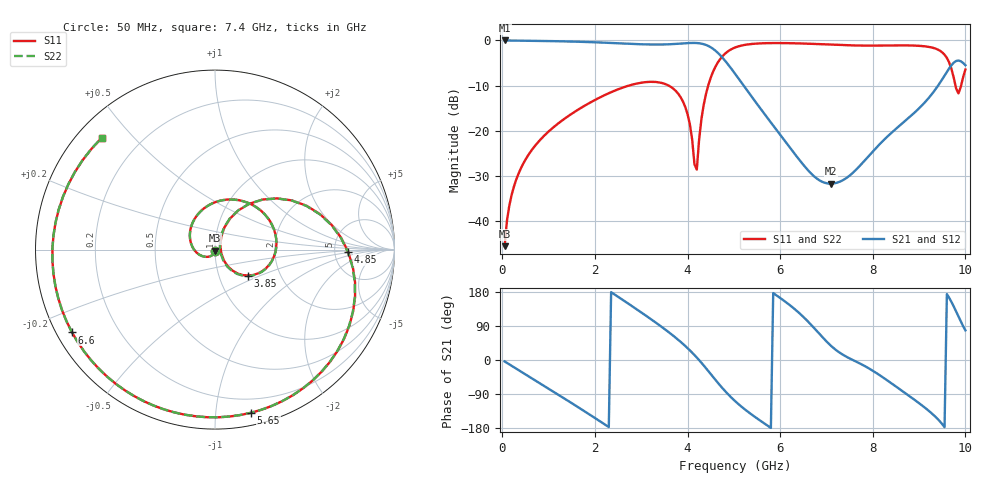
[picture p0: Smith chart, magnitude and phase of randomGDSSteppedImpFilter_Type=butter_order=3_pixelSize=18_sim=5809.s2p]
! freq	dB(S11)	phase(S11)	dB(S12)	phase(S12)
!  dB(S21)	phase(S21)	dB(S22)	phase(S22)
!S-par simulation data
#  GHz  S  DB  R 50
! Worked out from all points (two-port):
!   200 points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, 50 MHz to 10 GHz, reference 50 ohm
!   highest |S21| = -0.01 dB at 50 MHz (marker M1); lowest = -31.8 dB at 7.1 GHz (marker M2)
!   |S21| within 3 dB of the highest: start of sweep to 4.679 GHz
!   lowest |S11| = -45.6 dB at 50 MHz (marker M3), VSWR 1.01, Z = 50 - j0.522 ohm
!   |S11| at or under -10 dB: start of sweep to 2.74 GHz; 3.588 GHz to 4.447 GHz (858.5 MHz wide, 21.4 % of centre); 9.786 GHz to 9.908 GHz (122.2 MHz wide, 1.24 % of centre)
!   |S22| runs from -45.6 to -0.6 dB; largest |S21 - S12| = 0
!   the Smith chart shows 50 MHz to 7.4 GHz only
!   S11 on the Smith chart (normalised r, x): 50 MHz: 1.00, -0.01; 3.85 GHz: 1.38, -0.42; 4.85 GHz: 6.73, -0.37; 5.65 GHz: 0.09, -1.24; 6.6 GHz: 0.04, -0.27; 7.4 GHz: 0.07, +0.41
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0.05  -45.64 -88.7  -0.01 -3.8  -0.01 -3.8  -45.64 -88.7
0.5  -26.45 -127.4  -0.07 -37.7  -0.07 -37.7  -26.45 -127.4
1.15  -18.88 -178.0  -0.17 -86.9  -0.17 -86.9  -18.88 -177.9
1.75  -14.65 135.6  -0.32 -133.3  -0.32 -133.3  -14.65 135.5
2.5  -10.84 76.3  -0.63 166.9  -0.63 166.9  -10.84 76.0
3.4  -9.34 2.0  -0.91 91.1  -0.91 91.1  -9.34 1.4
3.85  -12.58 -38.0  -0.70 48.0  -0.70 48.0  -12.59 -38.9
4.2  -28.65 36.3  -0.58 6.5  -0.58 6.5  -29.26 38.5
4.4  -11.81 59.0  -1.01 -21.8  -1.01 -21.8  -11.83 59.2
4.85  -2.59 -1.0  -5.00 -87.2  -5.00 -87.2  -2.59 -1.2
5.05  -1.48 -24.1  -7.72 -111.0  -7.72 -111.0  -1.48 -24.5
5.65  -0.62 -77.6  -16.16 -166.7  -16.16 -166.7  -0.62 -78.0
6.6  -0.72 -149.9  -28.78 101.7  -28.78 101.7  -0.72 -150.3
6.7  -0.76 -158.2  -29.84 88.8  -29.84 88.8  -0.76 -158.5
7.1  -0.93 165.8  -31.77 37.2  -31.77 37.2  -0.92 165.6
7.4  -1.05 135.4  -30.73 10.7  -30.73 10.7  -1.05 135.4
7.85  -1.15 85.8  -26.35 -17.5  -26.35 -17.5  -1.15 86.1
8.35  -1.11 32.0  -21.00 -57.0  -21.00 -57.0  -1.11 32.6
9.35  -1.79 -56.5  -10.90 -149.4  -10.90 -149.4  -1.79 -55.8
9.7  -6.35 -90.0  -5.49 153.0  -5.49 153.0  -6.28 -88.9
9.85  -11.74 -61.2  -4.46 114.6  -4.46 114.6  -11.45 -61.2
10  -6.45 -36.7  -5.49 78.3  -5.49 78.3  -6.40 -37.3
